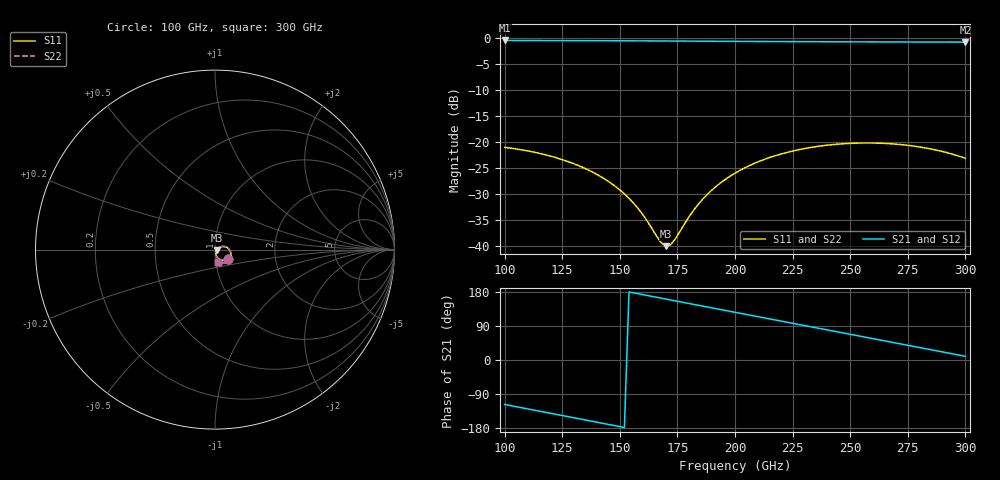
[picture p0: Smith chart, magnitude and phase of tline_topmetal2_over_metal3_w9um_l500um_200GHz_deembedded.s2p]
! Created with skrf 2.2.0 (http://scikit-rf.org).
# GHz S DB R 50.0
! Port[1] = P1
! Port[2] = P2
!freq dBS11 angS11 dBS21 angS21 dBS12 angS12 dBS22 angS22
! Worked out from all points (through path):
!   101 points, 100 GHz to 300 GHz, reference 50 ohm
!   highest |S21| = -0.39 dB at 100 GHz (marker M1); lowest = -0.7 dB at 300 GHz (marker M2)
!   group delay of S21, straight-line fit = 3.23 ps
!   lowest |S11| = -40.1 dB at 170 GHz (marker M3), VSWR 1.02, Z = 50.9 - j0.501 ohm
!   |S11| at or under -10 dB: start of sweep to end of sweep
!   |S22| runs from -40.0 to -20.2 dB; largest |S21 - S12| = 1.1e-14
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100  -21.01 -36.5  -0.39 -117.3  -0.39 -117.3  -21.00 -36.7
118  -22.48 -53.8  -0.41 -138.3  -0.41 -138.3  -22.47 -54.1
134  -24.90 -67.9  -0.42 -157.0  -0.42 -157.0  -24.89 -68.2
144  -27.28 -75.1  -0.44 -168.7  -0.44 -168.7  -27.26 -75.4
154  -30.85 -78.5  -0.46 179.5  -0.46 179.5  -30.82 -78.7
160  -34.01 -75.2  -0.47 172.5  -0.47 172.5  -33.96 -75.4
168  -39.41 -45.9  -0.49 163.2  -0.49 163.2  -39.29 -46.2
170  -40.08 -29.8  -0.49 160.8  -0.49 160.8  -39.95 -30.3
172  -39.81 -12.7  -0.49 158.5  -0.49 158.5  -39.70 -13.5
174  -38.75 1.7  -0.50 156.2  -0.50 156.2  -38.66 0.7
180  -34.44 22.6  -0.52 149.2  -0.52 149.2  -34.41 21.8
186  -31.01 27.0  -0.53 142.2  -0.53 142.2  -31.00 26.2
192  -28.47 25.7  -0.55 135.2  -0.55 135.2  -28.47 25.0
200  -25.99 20.7  -0.56 125.9  -0.56 125.9  -25.99 20.1
208  -24.18 13.9  -0.58 116.6  -0.58 116.6  -24.18 13.3
218  -22.56 4.5  -0.60 105.0  -0.60 105.0  -22.55 3.9
234  -20.95 -11.4  -0.63 86.4  -0.63 86.4  -20.95 -12.0
250  -20.24 -27.6  -0.65 67.9  -0.65 67.9  -20.24 -28.2
258  -20.17 -35.7  -0.66 58.6  -0.66 58.6  -20.17 -36.2
268  -20.33 -45.7  -0.68 47.0  -0.68 47.0  -20.33 -46.2
284  -21.24 -61.3  -0.69 28.4  -0.69 28.4  -21.24 -61.7
300  -23.12 -75.7  -0.71 9.7  -0.71 9.7  -23.12 -75.9
